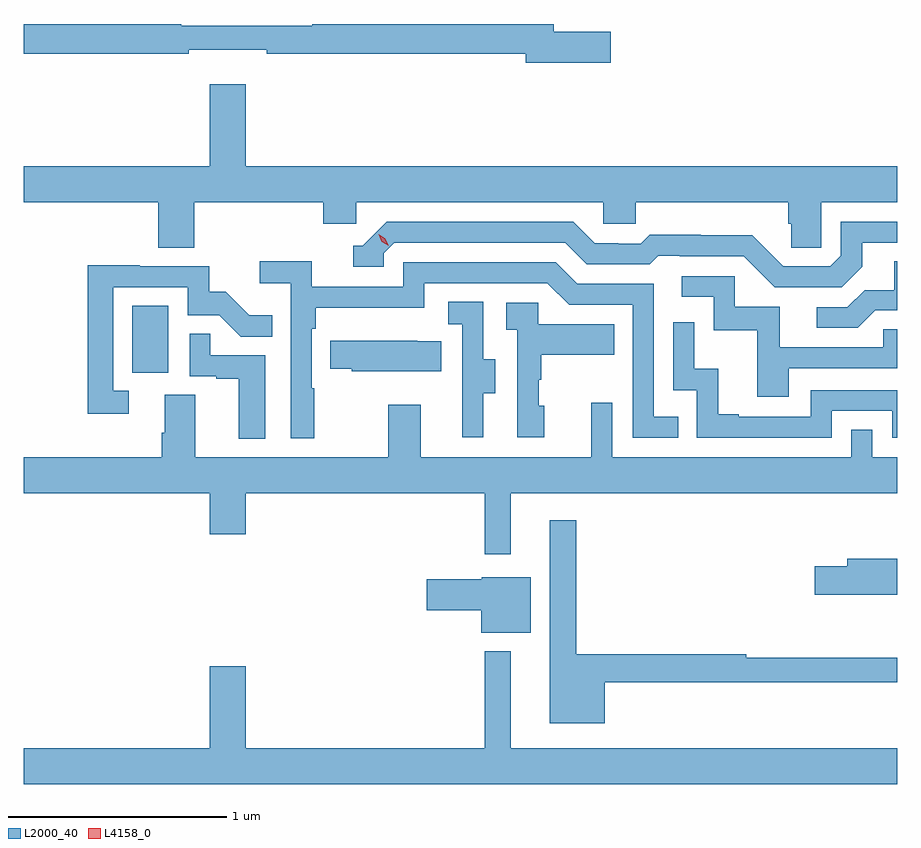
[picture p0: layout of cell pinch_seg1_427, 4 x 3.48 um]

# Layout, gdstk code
import gdstk
lib = gdstk.Library(unit=1e-6, precision=1e-09)
def R(c, l, rs):  # rectangles x0, y0, x1, y1
    for r in rs: c.add(gdstk.rectangle(r[:2], r[2:], *l))
def P(c, l, *ps):  # polygons
    for p in ps: c.add(gdstk.Polygon(p, *l))
L2000_40 = (2000, 40)
L4158_0 = (4158, 0)

pinch_seg1_427 = lib.new_cell('pinch_seg1_427')
R(pinch_seg1_427, L2000_40, [(931.886,516.318,932.05,516.625)])
P(pinch_seg1_427, L2000_40, [(934.075,517.88),(933.814,517.88),(933.814,517.916),(932.71,517.916),(932.71,517.909),(932.11,517.909),(932.11,517.916),(931.388,517.916),(931.388,517.78),(932.144,517.78),(932.144,517.799),(932.5,517.799),(932.5,517.78),(933.686,517.78),(933.686,517.738),(934.075,517.738)],
  [(932.168,517.1),(932.759,517.1),(932.759,517.002),(932.91,517.002),(932.91,517.1),(934.041,517.1),(934.041,517.002),(934.191,517.002),(934.191,517.1),(934.889,517.1),(934.889,517.002),(934.903,517.002),(934.903,516.892),(935.04,516.892),(935.04,517.1),(935.388,517.1),(935.388,517.264),(932.404,517.264),(932.404,517.639),(932.24,517.639),(932.24,517.264),(931.388,517.264),(931.388,517.1),(932.003,517.1),(932.003,516.892),(932.168,516.892)],
  [(935.227,516.805),(935.227,516.915),(935.388,516.915),(935.388,517.011),(935.13,517.011),(935.13,516.855),(935.082,516.807),(934.866,516.807),(934.724,516.949),(934.488,516.949),(934.488,516.952),(934.255,516.952),(934.213,516.909),(934.11,516.909),(934.11,516.912),(934.003,516.912),(933.904,517.011),(933.051,517.011),(932.94,516.9),(932.897,516.9),(932.897,516.804),(933.036,516.804),(933.036,516.867),(933.084,516.915),(933.867,516.915),(933.966,516.816),(934.255,516.816),(934.294,516.855),(934.393,516.855),(934.393,516.852),(934.686,516.852),(934.827,516.711),(935.133,516.711)],
  [(932.719,516.248),(932.706,516.248),(932.706,516.521),(932.726,516.521),(932.726,516.617),(933.222,516.617),(933.222,516.729),(933.786,516.729),(933.885,516.63),(934.176,516.63),(934.176,516.021),(934.385,516.021),(934.385,516.117),(934.272,516.117),(934.272,516.726),(933.922,516.726),(933.823,516.825),(933.126,516.825),(933.126,516.714),(932.708,516.714),(932.708,516.83),(932.469,516.83),(932.469,516.728),(932.61,516.728),(932.61,516.02),(932.719,516.02)],
  [(935.287,516.606),(935.388,516.606),(935.388,516.83),(935.375,516.83),(935.375,516.698),(935.24,516.698),(935.16,516.618),(935.019,516.618),(935.019,516.525),(935.206,516.525)],
  [(931.87,516.237),(931.797,516.237),(931.797,516.711),(932.139,516.711),(932.139,516.582),(932.284,516.582),(932.382,516.484),(932.525,516.484),(932.525,516.583),(932.421,516.583),(932.314,516.69),(932.238,516.69),(932.238,516.807),(931.919,516.807),(931.919,516.812),(931.681,516.812),(931.681,516.132),(931.87,516.132)],
  [(934.891,516.339),(935.388,516.339),(935.388,516.519),(935.323,516.519),(935.323,516.435),(934.849,516.435),(934.849,516.621),(934.644,516.621),(934.644,516.762),(934.401,516.762),(934.401,516.666),(934.548,516.666),(934.548,516.513),(934.747,516.513),(934.747,516.21),(934.891,516.21)],
  [(933.493,516.226),(933.547,516.226),(933.547,516.381),(933.492,516.381),(933.492,516.644),(933.333,516.644),(933.333,516.541),(933.396,516.541),(933.396,516.237),(933.395,516.237),(933.395,516.024),(933.493,516.024)],
  [(933.772,516.168),(933.747,516.168),(933.747,516.287),(933.757,516.287),(933.757,516.401),(934.091,516.401),(934.091,516.541),(933.744,516.541),(933.744,516.639),(933.597,516.639),(933.597,516.515),(933.648,516.515),(933.648,516.024),(933.772,516.024)],
  [(935.088,516.144),(935.364,516.144),(935.364,516.021),(935.388,516.021),(935.388,516.24),(934.992,516.24),(934.992,516.117),(934.663,516.117),(934.663,516.13),(934.568,516.13),(934.568,516.338),(934.458,516.338),(934.458,516.55),(934.362,516.55),(934.362,516.24),(934.47,516.24),(934.47,516.021),(935.088,516.021)],
  [(932.494,516.399),(932.243,516.399),(932.243,516.497),(932.148,516.497),(932.148,516.303),(932.269,516.303),(932.269,516.291),(932.372,516.291),(932.372,516.017),(932.494,516.017)],
  [(933.299,516.463),(933.191,516.463),(933.191,516.466),(932.791,516.466),(932.791,516.337),(932.889,516.337),(932.889,516.326),(933.299,516.326)],
  [(933.619,515.768),(935.388,515.768),(935.388,515.932),(935.274,515.932),(935.274,516.059),(935.178,516.059),(935.178,515.932),(934.083,515.932),(934.083,516.181),(933.986,516.181),(933.986,515.932),(933.205,515.932),(933.205,516.172),(933.058,516.172),(933.058,515.932),(932.173,515.932),(932.173,516.218),(932.033,516.218),(932.033,516.044),(932.021,516.044),(932.021,515.932),(931.388,515.932),(931.388,515.768),(932.24,515.768),(932.24,515.58),(932.404,515.58),(932.404,515.768),(933.498,515.768),(933.498,515.487),(933.619,515.487)],
  [(934.048,514.902),(935.388,514.902),(935.388,515.015),(934.697,515.015),(934.697,515.03),(933.919,515.03),(933.919,515.644),(933.797,515.644),(933.797,514.715),(934.048,514.715)],
  [(935.388,515.467),(935.159,515.467),(935.159,515.433),(935.01,515.433),(935.01,515.303),(935.388,515.303)],
  [(933.709,515.383),(933.486,515.383),(933.486,515.373),(933.234,515.373),(933.234,515.231),(933.482,515.231),(933.482,515.129),(933.709,515.129)],
  [(935.388,514.6),(933.619,514.6),(933.619,515.044),(933.498,515.044),(933.498,514.6),(932.404,514.6),(932.404,514.975),(932.24,514.975),(932.24,514.6),(931.388,514.6),(931.388,514.436),(935.388,514.436)])
P(pinch_seg1_427, L4158_0, [(933.059,516.9),(933.028,516.92),(933.013,516.953),(933.013,516.954),(933.013,516.954),(933.044,516.933),(933.059,516.9),(933.059,516.9)])

lib.write_gds('pinch_seg1_427.gds')
